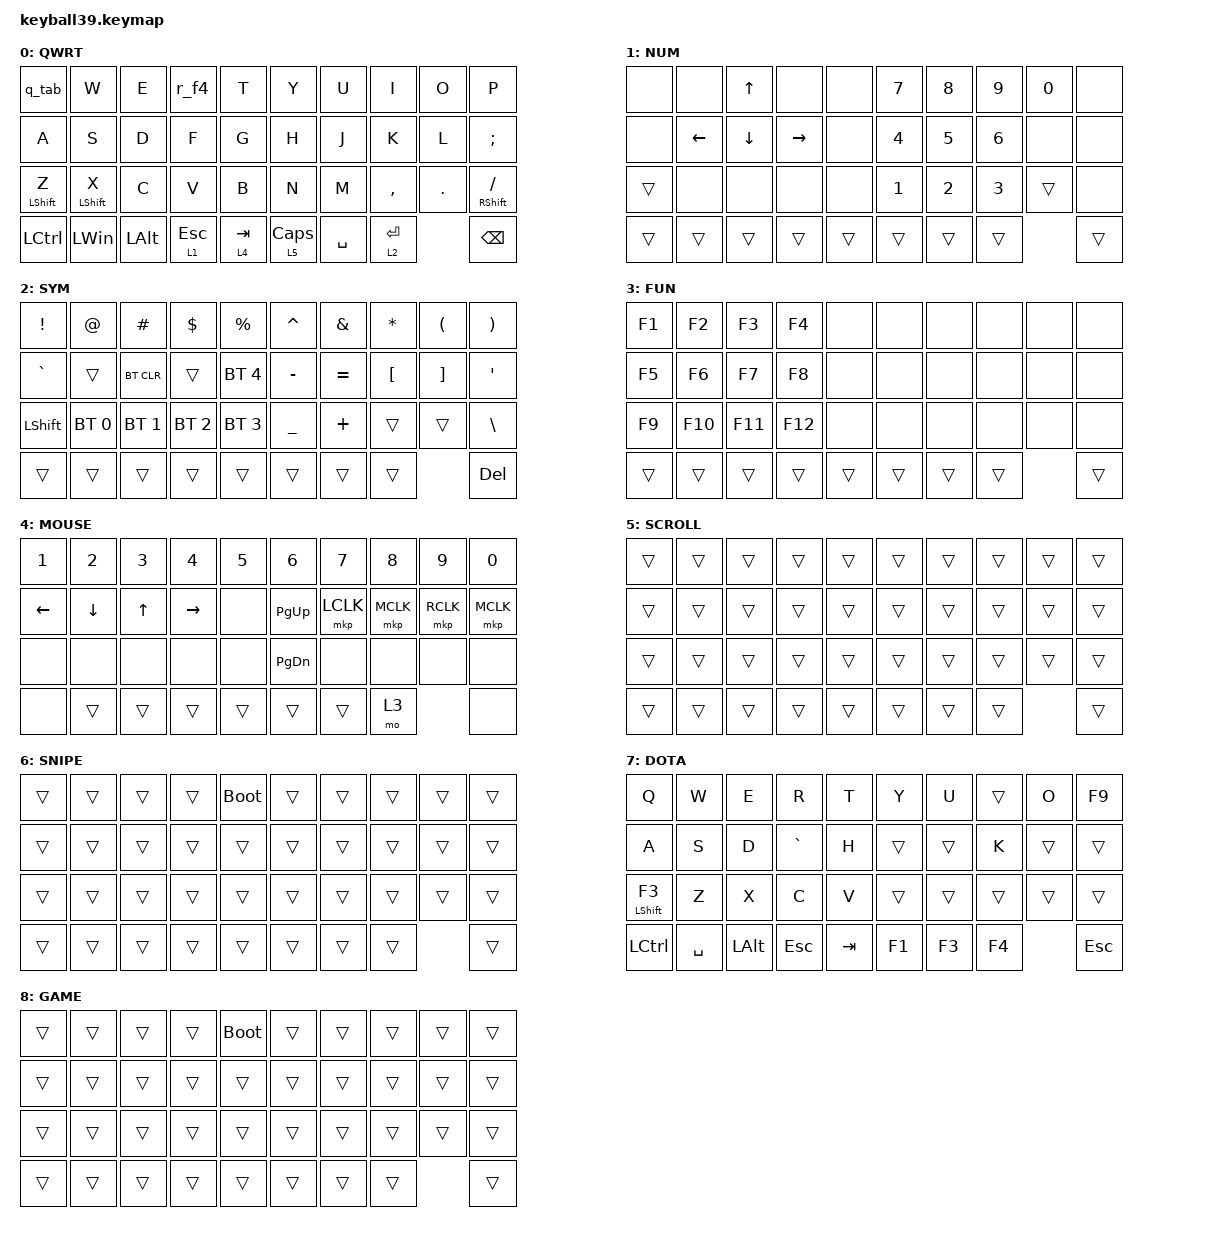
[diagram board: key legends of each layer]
#define DEFAULT 0
#define NUM     1
#define SYM     2
#define FUN     3
#define MOUSE   4
#define SCROLL  5
#define SNIPE   6
#define DOTA    7
#define GAME    8

#include <behaviors/mouse_keys.dtsi>
#include <dt-bindings/zmk/mouse.h>
#include <behaviors.dtsi>
#include <dt-bindings/zmk/bt.h>
#include <dt-bindings/zmk/keys.h>

&lt {
    tapping-term-ms = <240>;
    flavor = "balanced";
    quick-tap-ms = <150>;
};

&mt {
    tapping-term-ms = <200>;
    flavor = "tap-preferred";
    quick-tap-ms = <150>;
};

&caps_word { continue-list = <UNDERSCORE MINUS>; };

/ {
    // custom shift using mod-morph 

    behaviors {
        cmqus: comma_question {
            compatible = "zmk,behavior-mod-morph";
            label = "COMMA_QUESTION";
            #binding-cells = <0>;
            bindings = <&kp COMMA>, <&kp QUESTION>;

            mods = <(MOD_LSFT|MOD_RSFT)>;
        };

        dtsmi: dot_semi {
            compatible = "zmk,behavior-mod-morph";
            label = "DOT_SEMI";
            #binding-cells = <0>;
            bindings = <&kp DOT>, <&kp SEMI>;

            mods = <(MOD_LSFT|MOD_RSFT)>;
        };

        // "Smart Q": Sends Tab if Alt is held, otherwise sends Q
        q_tab: q_alt_ctrl_tab {
            compatible = "zmk,behavior-mod-morph";
            label = "Q_TAB";
            #binding-cells = <0>;
            bindings = <&kp Q>, <&kp TAB>;
            // Trigger on ALT or CTRL
            mods = <(MOD_LALT|MOD_RALT|MOD_LCTL|MOD_RCTL)>;
            // Keep ALT/CTRL/SHIFT held down while sending Tab
            keep-mods = <(MOD_LALT|MOD_RALT|MOD_LCTL|MOD_RCTL)>;
        };

        // "Smart R": Sends F4 if Alt is held (Resulting in Alt+F4), otherwise sends R
        r_f4: r_alt_f4 {
            compatible = "zmk,behavior-mod-morph";
            label = "R_F4";
            #binding-cells = <0>;
            bindings = <&kp R>, <&kp F4>;
            mods = <(MOD_LALT|MOD_RALT)>;
            keep-mods = <(MOD_LALT|MOD_RALT)>;
        };

        combos {
        compatible = "zmk,combos";

        /* Example: Pressing Q W E R together enters Layer 4 (dota) */
        combo_dotamode {
            timeout-ms = <50>;
            key-positions = <0 1 2 3>; // <--- REPLACE these with your actual key numbers
            bindings = <&to 7>;
        };

        /* Example: Pressing A S D F together enters Layer 0 (default) */
        combo_default {
            timeout-ms = <50>;
            key-positions = <10 11 12 13>; // <--- REPLACE these with your actual key numbers
            bindings = <&to 0>;
        };

        /* Example: Pressing Z X C V */
        combo_gamemode {
            timeout-ms = <50>;
            key-positions = <20 21 22 23>;
            bindings = <&to 8>;
        };
    };
    };
    macros {
        Hiragana: Hiragana {
            compatible = "zmk,behavior-macro";
            #binding-cells = <0>;
            bindings = <&kp LC(SPACE)>;
            label = "HIRAGANA";
        };
    };

    keymap {
        compatible = "zmk,keymap";

        default_layer {
            label = "QWRT";
            bindings = <
&q_tab      &kp W         &kp E     &r_f4         &kp T                                    &kp Y            &kp U  &kp I      &kp O    &kp P
&kp A      &kp S         &kp D     &kp F         &kp G                                    &kp H            &kp J  &kp K      &kp L    &kp SEMI
&mt LSHFT Z      &mt LSHFT X         &kp C     &kp V         &kp B                                    &kp N            &kp M  &kp COMMA  &kp DOT  &mt RSHFT SLASH
&kp LCTRL  &kp LEFT_WIN  &kp LALT  &lt 1 ESCAPE  &lt 4 TAB  &lt 5 CAPSLOCK  &kp SPACE  &lt 2 ENTER                             &kp BACKSPACE
>;
        };

        number_layer {
            label = "NUM";
            bindings = <
&none  &none      &kp UP_ARROW  &none         &none                  &kp NUMBER_7  &kp NUMBER_8  &kp NUMBER_9  &kp NUMBER_0  &none
&none  &kp LEFT   &kp DOWN      &kp RIGHT     &none                  &kp NUMBER_4  &kp NUMBER_5  &kp NUMBER_6  &none         &none
&trans &none      &none         &none         &none                  &kp NUMBER_1  &kp NUMBER_2  &kp NUMBER_3  &trans        &none
&trans &trans     &trans        &trans        &trans        &trans  &trans  &trans                                                  &trans
            >;
        };

        symbol_layer {
            label = "SYM";
            bindings = <
&kp EXCLAMATION  &kp AT_SIGN   &kp HASH      &kp DOLLAR    &kp PERCENT                  &kp CARET       &kp AMPERSAND  &kp ASTERISK      &kp LEFT_PARENTHESIS  &kp RIGHT_PARENTHESIS
&kp GRAVE        &trans        &bt BT_CLR    &trans        &bt BT_SEL 4                       &kp MINUS       &kp EQUAL      &kp LEFT_BRACKET  &kp RIGHT_BRACKET     &kp SQT
&kp LSHFT        &bt BT_SEL 0  &bt BT_SEL 1  &bt BT_SEL 2  &bt BT_SEL 3                 &kp UNDERSCORE  &kp PLUS       &trans            &trans                &kp BSLH
&trans           &trans        &trans        &trans        &trans       &trans  &trans  &trans                                                                 &kp DELETE
            >;
        };

        function_layer {
            label = "FUN";
            bindings = <
&kp F1  &kp F2   &kp F3   &kp F4   &none                   &none   &none  &none  &none  &none
&kp F5  &kp F6   &kp F7   &kp F8   &none                   &none   &none  &none  &none  &none
&kp F9  &kp F10  &kp F11  &kp F12  &none                   &none   &none  &none  &none  &none
&trans  &trans   &trans   &trans   &trans  &trans  &trans  &trans                       &trans
            >;
        };

        mouse_layer {
            label = "MOUSE";
            bindings = <
&kp N1          &kp N2          &kp N3        &kp N4     &kp N5                  &kp N6         &kp N7     &kp N8  &kp N9     &kp N0
&kp LEFT_ARROW  &kp DOWN_ARROW  &kp UP_ARROW  &kp RIGHT  &none                   &kp PAGE_UP    &mkp LCLK  &mkp MCLK   &mkp RCLK  &mkp MCLK
&none           &none           &none         &none      &none                   &kp PAGE_DOWN  &none      &none   &none      &none
&none           &trans          &trans        &trans     &trans  &trans  &trans  &mo 3                                        &none
            >;
        };

        scroll_layer {
            label = "SCROLL";
            bindings = <
&trans  &trans  &trans  &trans  &trans                  &trans  &trans  &trans  &trans  &trans
&trans  &trans  &trans  &trans  &trans                  &trans  &trans  &trans  &trans  &trans
&trans  &trans  &trans  &trans  &trans                  &trans  &trans  &trans  &trans  &trans
&trans  &trans  &trans  &trans  &trans  &trans  &trans  &trans                          &trans
            >;
        };

        snipe_layer {
            label = "SNIPE";
            bindings = <
&trans  &trans  &trans  &trans  &bootloader                  &trans  &trans  &trans  &trans  &trans
&trans  &trans  &trans  &trans  &trans                       &trans  &trans  &trans  &trans  &trans
&trans  &trans  &trans  &trans  &trans                       &trans  &trans  &trans  &trans  &trans
&trans  &trans  &trans  &trans  &trans       &trans  &trans  &trans                          &trans
            >;
        };

        dota_layer {
            label = "DOTA";
            bindings = <
&kp Q  &kp W  &kp E  &kp R  &kp T                  &kp Y  &kp U  &trans  &kp O  &kp F9
&kp A  &kp S  &kp D  &kp GRAVE  &kp H                       &trans  &trans  &kp K  &trans  &trans
&mt LSHFT F3  &kp Z  &kp X  &kp C  &kp V                       &trans  &trans  &trans  &trans  &trans
&kp LCTRL  &kp SPACE  &kp LALT  &kp ESCAPE  &kp TAB &kp F1             &kp F3  &kp F4                          &kp ESCAPE            >;
        };

        game_layer {
            label = "GAME";
            bindings = <
&trans  &trans  &trans  &trans  &bootloader                  &trans  &trans  &trans  &trans  &trans
&trans  &trans  &trans  &trans  &trans                       &trans  &trans  &trans  &trans  &trans
&trans  &trans  &trans  &trans  &trans                       &trans  &trans  &trans  &trans  &trans
&trans  &trans  &trans  &trans  &trans       &trans  &trans  &trans                          &trans
            >;
        };
    };
};
